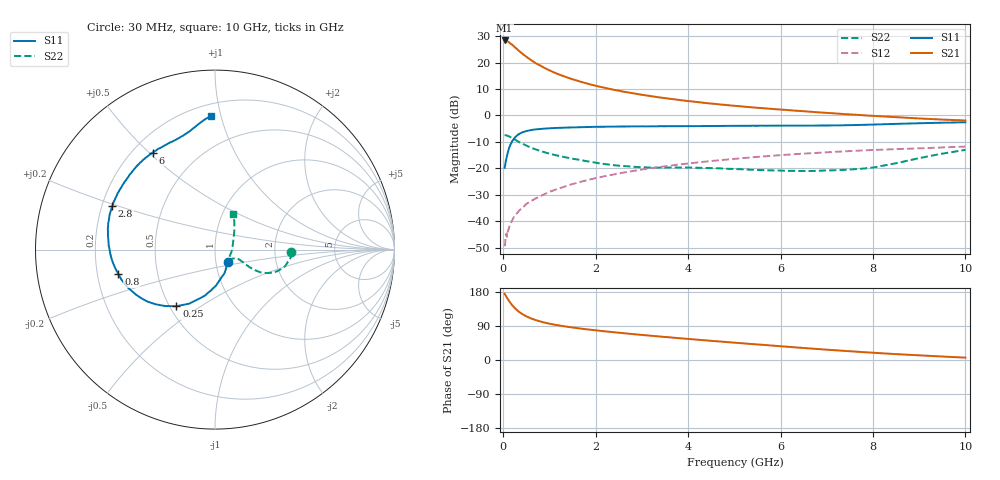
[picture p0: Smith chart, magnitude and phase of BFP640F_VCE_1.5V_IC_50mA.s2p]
! Infineon Technologies  Discrete & RF Semiconductors
! BFP640F
! VCE =  1.5 V,  IC =  50 mA
! Common Emitter S-Parameters:  Apr 2013
# GHz  S  MA  R  50
!  f  S11  S21  S12  S22
! GHz  MAG  ANG  MAG  ANG  MAG  ANG  MAG  ANG
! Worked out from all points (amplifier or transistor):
!   99 points, 30 MHz to 10 GHz, reference 50 ohm
!   highest |S21| = 28.3 dB at 30 MHz (marker M1)
!   |S21| within 3 dB of that: start of sweep to 280.6 MHz
!   unconditionally stable (mu >= 1): start of sweep to end of sweep
!   at 350 MHz: K = 1.35, MAG = 26.5 dB, |S12| = -35.9 dB
!   at 3.5 GHz: K = 1.34, MAG = 9.4 dB, |S12| = -19.2 dB
!   at 10 GHz: K = 1.23, MAG = 2.1 dB, |S12| = -11.7 dB
!   S11 on the Smith chart (normalised r, x): 30 MHz: 1.15, -0.17; 250 MHz: 0.54, -0.40; 800 MHz: 0.29, -0.11; 2.8 GHz: 0.24, +0.19; 6 GHz: 0.28, +0.51; 10 GHz: 0.28, +0.93
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0.03  0.1026 -44.4  26.15 174.9  0.0034 42.2  0.4231 -1.9
0.04  0.1114 -54.8  25.85 172.8  0.0036 48.3  0.4239 -3.3
0.05  0.1279 -62.5  26.07 170.8  0.0048 58.3  0.4243 -4.4
0.08  0.1702 -80.7  25.32 164.5  0.0051 63.1  0.4176 -7.9
0.12  0.2319 -96.2  24.32 156.8  0.0072 64.4  0.4045 -11.9
0.15  0.2733 -104.8  23.15 151.6  0.0087 59.9  0.394 -14.7
0.2  0.3336 -115.5  21.47 143.7  0.0107 64.5  0.3735 -18.2
0.25  0.3817 -124.3  19.52 137.2  0.0131 63.3  0.3534 -21.0
0.35  0.4504 -137.5  16.38 126.4  0.0161 64.9  0.314 -24.6
0.4  0.4749 -142.4  15.04 122.2  0.0177 64.6  0.2973 -25.6
0.5  0.5071 -150.4  12.89 115.2  0.0213 65.4  0.2706 -26.8
0.6  0.5304 -156.7  11.16 109.8  0.0241 65.9  0.2471 -27.3
0.8  0.5555 -165.8  8.783 101.7  0.0299 67.2  0.2143 -26.9
1.2  0.584 -177.8  5.983 91.3  0.0418 67.7  0.1729 -24.5
1.7  0.602 172.3  4.281 82.6  0.0567 67.2  0.1425 -22.0
2.8  0.6214 157.1  2.634 68.4  0.0893 62.9  0.1079 -28.5
3.4  0.6268 149.9  2.182 61.8  0.1069 59.8  0.1035 -34.0
5.1  0.6375 131.7  1.501 44.8  0.1543 49.8  0.0968 -34.9
6  0.6426 122.8  1.295 36.3  0.1781 44.1  0.091 -27.9
6.7  0.6447 115.1  1.17 29.9  0.1949 39.4  0.0895 -17.9
8.5  0.6949 98.9  0.93 15.5  0.2314 28.2  0.1252 33.5
10  0.7442 91.7  0.805 6.2  0.2589 20.4  0.224 63.6
